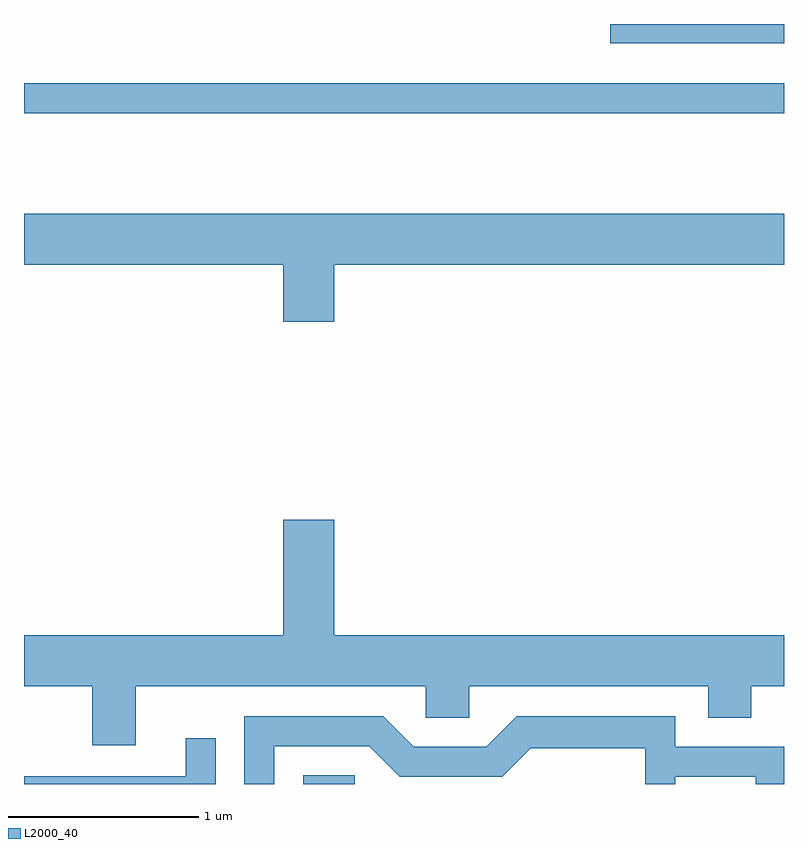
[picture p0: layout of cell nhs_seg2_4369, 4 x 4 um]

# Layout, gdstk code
import gdstk
lib = gdstk.Library(unit=1e-6, precision=1e-09)
def R(c, l, rs):  # rectangles x0, y0, x1, y1
    for r in rs: c.add(gdstk.rectangle(r[:2], r[2:], *l))
def P(c, l, *ps):  # polygons
    for p in ps: c.add(gdstk.Polygon(p, *l))
L2000_40 = (2000, 40)

nhs_seg2_4369 = lib.new_cell('nhs_seg2_4369')
R(nhs_seg2_4369, L2000_40, [(315.081,1047.802,315.353,1047.849), (313.611,1051.331,317.611,1051.489), (316.696,1051.701,317.611,1051.802)])
P(nhs_seg2_4369, L2000_40, [(315.244,1050.536),(317.611,1050.536),(317.611,1050.804),(313.611,1050.804),(313.611,1050.536),(314.976,1050.536),(314.976,1050.236),(315.244,1050.236)],
  [(314.199,1048.316),(315.726,1048.316),(315.726,1048.151),(315.954,1048.151),(315.954,1048.316),(317.211,1048.316),(317.211,1048.151),(317.439,1048.151),(317.439,1048.316),(317.611,1048.316),(317.611,1048.584),(315.244,1048.584),(315.244,1049.194),(314.976,1049.194),(314.976,1048.584),(313.611,1048.584),(313.611,1048.316),(313.971,1048.316),(313.971,1048.006),(314.199,1048.006)],
  [(314.929,1048.001),(315.429,1048.001),(315.589,1047.841),(316.127,1047.841),(316.277,1047.991),(316.881,1047.991),(316.881,1047.802),(317.039,1047.802),(317.039,1047.841),(317.461,1047.841),(317.461,1047.802),(317.611,1047.802),(317.611,1047.999),(317.039,1047.999),(317.039,1048.159),(316.204,1048.159),(316.044,1047.999),(315.662,1047.999),(315.502,1048.159),(314.771,1048.159),(314.771,1047.802),(314.929,1047.802)],
  [(314.619,1048.043),(314.461,1048.043),(314.461,1047.844),(313.611,1047.844),(313.611,1047.802),(314.619,1047.802)])

lib.write_gds('nhs_seg2_4369.gds')
